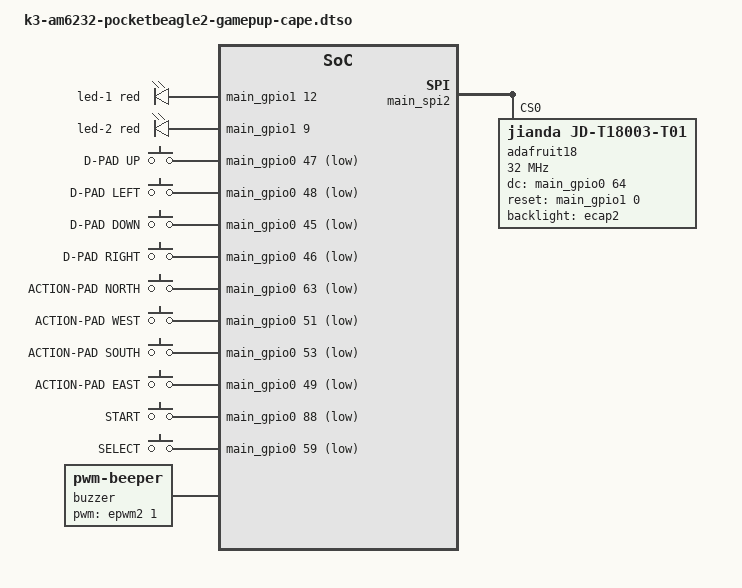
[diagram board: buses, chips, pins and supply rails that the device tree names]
/dts-v1/;
/plugin/;

#include <dt-bindings/leds/common.h>
#include <dt-bindings/gpio/gpio.h>
#include <dt-bindings/input/input.h>

&main_spi2 {
	#address-cells = <1>;
	#size-cells = <0>;

	adafruit18: adafruit18@0{
		compatible = "jianda,jd-t18003-t01";
		pinctrl-names = "default";
		pinctrl-0 = <&P2_19_gpio &P2_17_gpio>;
		reg = <0>;
		dc-gpios = <&main_gpio0 64 0>;
		backlight = <&ecap2 0 255 0>;
		spi-max-frequency = <32000000>;
		reset-gpios = <&main_gpio1 0 0>;
                rotation = <0>;
		buswidth = <8>;
	};
};

&{/} {
	cape-leds {
		compatible = "gpio-leds";
		pinctrl-names = "default";
		pinctrl-0 = <&P1_04_D20_gpio &P2_03_B18_gpio>;

		led-1 {
			gpios = <&main_gpio1 12 GPIO_ACTIVE_HIGH>;
			color = <LED_COLOR_ID_RED>;
		};

		led-2 {
			gpios = <&main_gpio1 9 GPIO_ACTIVE_HIGH>;
			color = <LED_COLOR_ID_RED>;
		};
	};


	buttons {
		compatible = "gpio-keys";
		pinctrl-names = "default";
		pinctrl-0 = <&P2_06_gpio &P2_02_gpio &P2_08_gpio &P2_04_gpio &P1_31_gpio
			     &P2_22_gpio &P2_18_gpio &P2_24_gpio &P2_20_gpio &P1_35_gpio>;

		left-top {
			label = "D-PAD UP";
			gpios = <&main_gpio0 47 GPIO_ACTIVE_LOW>;
        		linux,code = <BTN_FORWARD>;
		};
		left-left {
			label = "D-PAD LEFT";
			gpios = <&main_gpio0 48 GPIO_ACTIVE_LOW>;
        		linux,code = <BTN_LEFT>;
		};
		left-bottom {
			label = "D-PAD DOWN";
			gpios = <&main_gpio0 45 GPIO_ACTIVE_LOW>;
        		linux,code = <BTN_BACK>;
		};
		left-right {
			label = "D-PAD RIGHT";
			gpios = <&main_gpio0 46 GPIO_ACTIVE_LOW>;
        		linux,code = <BTN_RIGHT>;
		};

		right-top {
			label = "ACTION-PAD NORTH";
			gpios = <&main_gpio0 63 GPIO_ACTIVE_LOW>;
        		linux,code = <BTN_NORTH>;
		};
		right-left {
			label = "ACTION-PAD WEST";
			gpios = <&main_gpio0 51 GPIO_ACTIVE_LOW>;
        		linux,code = <BTN_WEST>;
		};
		right-bottom {
			label = "ACTION-PAD SOUTH";
			gpios = <&main_gpio0 53 GPIO_ACTIVE_LOW>;
        		linux,code = <BTN_SOUTH>;
		};
		right-right {
			label = "ACTION-PAD EAST";
			gpios = <&main_gpio0 49 GPIO_ACTIVE_LOW>;
        		linux,code = <BTN_EAST>;
		};

		start {
			label = "START";
			gpios = <&main_gpio0 88 GPIO_ACTIVE_LOW>;
        		linux,code = <BTN_START>;
		};
		select {
			label = "SELECT";
			gpios = <&main_gpio0 59 GPIO_ACTIVE_LOW>;
        		linux,code = <BTN_SELECT>;
		};
	};

	buzzer {
        	compatible = "pwm-beeper";
		pinctrl-names = "default";
		pinctrl-0 = <&P1_33_A17_pwm>;
		pwms = <&epwm2 1 255 0>;
	};
};
